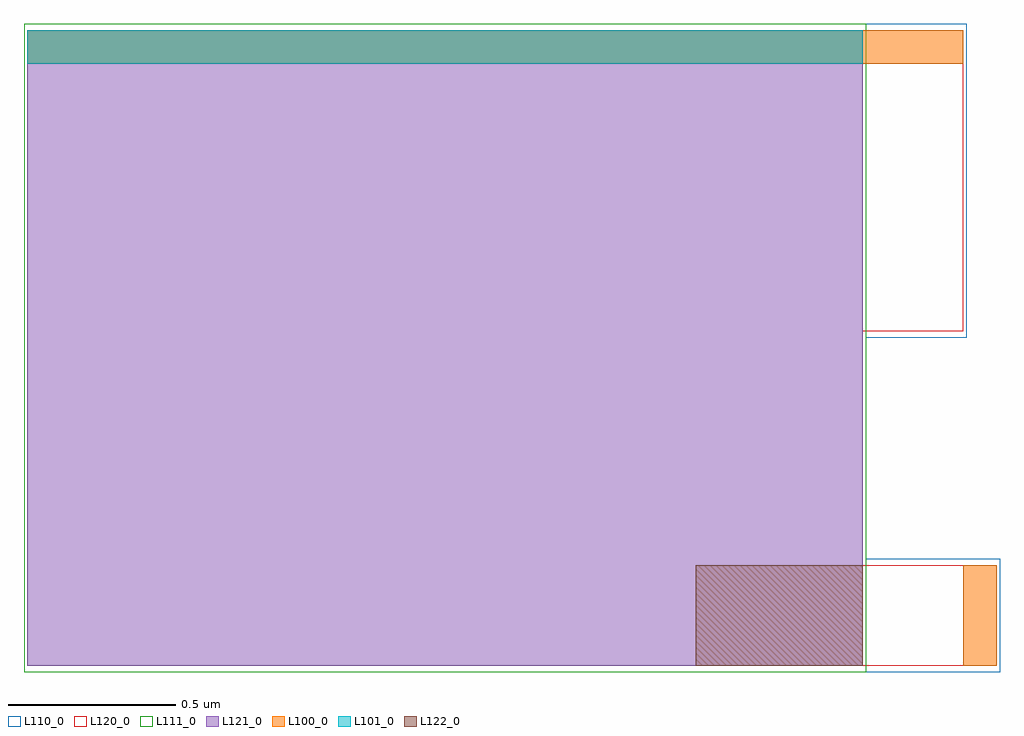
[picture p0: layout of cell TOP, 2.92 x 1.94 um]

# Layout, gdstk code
import gdstk
lib = gdstk.Library(unit=1e-6, precision=1e-10)
def R(c, l, rs):  # rectangles x0, y0, x1, y1
    for r in rs: c.add(gdstk.rectangle(r[:2], r[2:], *l))
def P(c, l, *ps):  # polygons
    for p in ps: c.add(gdstk.Polygon(p, *l))
L100_0 = (100, 0)
L101_0 = (101, 0)
L110_0 = (110, 0)
L111_0 = (111, 0)
L120_0 = (120, 0)
L121_0 = (121, 0)
L122_0 = (122, 0)

top = lib.new_cell('TOP')
R(top, L100_0, [(3,0.2,3.1,0.5), (0.2,2,3,2.1)])
R(top, L101_0, [(0.2,2,2.7,2.1)])
P(top, L110_0, [(0.19,0.18),(0.19,2.12),(3.01,2.12),(3.01,1.18),(2.71,1.18),(2.71,0.52),(3.11,0.52),(3.11,0.18)])
R(top, L111_0, [(0.19,0.18,2.71,2.12)])
P(top, L120_0, [(0.2,0.2),(0.2,2.1),(3,2.1),(3,1.2),(2.7,1.2),(2.7,0.5),(3.1,0.5),(3.1,0.2)])
R(top, L121_0, [(0.2,0.2,2.7,2.1)])
R(top, L122_0, [(2.2,0.2,2.7,0.5)])

lib.write_gds('TOP.gds')
